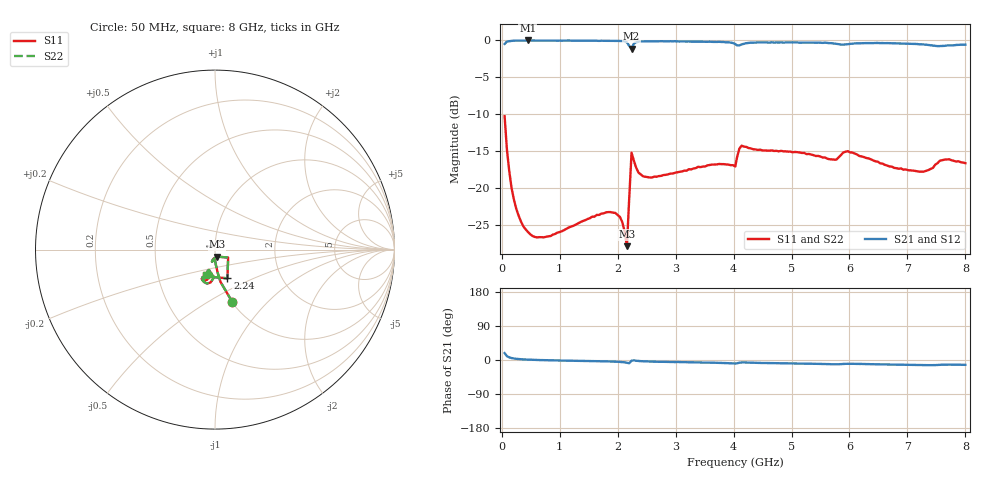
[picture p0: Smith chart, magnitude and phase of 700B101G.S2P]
!  American Technical Ceramics  Date:  3/13/98
!  One Norden Lane
!  Huntington Station,  NY.  11746-2102
!  Tel:  (516) 547-5700  Fax:  (516) 547-5748
!  Part Number  700B101G
!  Description: Porcelain, High Q, Low ESR
!  Application: Bypass, Coupling, Timing, Feedback
!  Tuning, Impedance Match, Blocking
# GHZ S DB R 50
! Freq  |S11|  S11 Ph  |S21|  S21 Ph  |S12|  S12 Ph  |S22|  S22 Ph
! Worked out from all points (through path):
!   201 points, 50 MHz to 8 GHz, reference 50 ohm
!   highest |S21| = 0.00 dB at 450 MHz (marker M1); lowest = -1.1 dB at 2.24 GHz (marker M2)
!   group delay of S21, straight-line fit = 5.52 ps
!   lowest |S11| = -27.8 dB at 2.16 GHz (marker M3), VSWR 1.08, Z = 51 - j3.97 ohm
!   |S11| at or under -10 dB: start of sweep to end of sweep
!   |S22| runs from -27.8 to -10.2 dB; largest |S21 - S12| = 0
!   S11 on the Smith chart (normalised r, x): 50 MHz: 1.00, -0.65; 2.24 GHz: 1.09, -0.36; 8 GHz: 0.87, -0.25
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0.05  -10.24 -71.7  -0.47 18.2  -0.47 18.2  -10.24 -71.7
0.09  -14.78 -80.3  -0.15 10.1  -0.15 10.1  -14.78 -80.3
0.17  -19.96 -85.4  -0.06 5.1  -0.06 5.1  -19.96 -85.4
0.29  -23.67 -89.0  -0.02 2.6  -0.02 2.6  -23.67 -89.0
0.45  -25.88 -91.2  0.00 1.0  0.00 1.0  -25.88 -91.2
0.73  -26.63 -94.5  -0.02 -0.3  -0.02 -0.3  -26.63 -94.5
1.4  -24.43 -100.7  -0.04 -2.3  -0.04 -2.3  -24.43 -100.7
1.96  -23.33 -104.0  -0.06 -4.4  -0.06 -4.4  -23.33 -104.0
2.08  -24.57 -102.2  -0.08 -5.4  -0.08 -5.4  -24.57 -102.2
2.16  -27.83 -73.2  -0.24 -7.3  -0.24 -7.3  -27.83 -73.2
2.2  -21.34 -31.3  -0.74 -8.5  -0.74 -8.5  -21.34 -31.3
2.24  -15.18 -66.6  -1.11 -1.8  -1.11 -1.8  -15.18 -66.6
2.36  -17.88 -102.2  -0.17 -2.6  -0.17 -2.6  -17.88 -102.2
2.71  -18.35 -107.4  -0.11 -4.7  -0.11 -4.7  -18.35 -107.4
4.03  -17.05 -98.0  -0.49 -9.4  -0.49 -9.4  -17.05 -98.0
4.14  -14.23 -103.3  -0.53 -6.6  -0.53 -6.6  -14.23 -103.3
5.38  -15.52 -113.8  -0.29 -10.1  -0.29 -10.1  -15.52 -113.8
5.77  -16.14 -106.3  -0.45 -11.2  -0.45 -11.2  -16.14 -106.3
5.97  -14.97 -108.2  -0.51 -10.1  -0.51 -10.1  -14.97 -108.2
6.69  -17.05 -110.8  -0.37 -11.9  -0.37 -11.9  -17.05 -110.8
7.28  -17.75 -101.3  -0.54 -13.6  -0.54 -13.6  -17.75 -101.3
8  -16.60 -109.7  -0.57 -12.8  -0.57 -12.8  -16.60 -109.7
